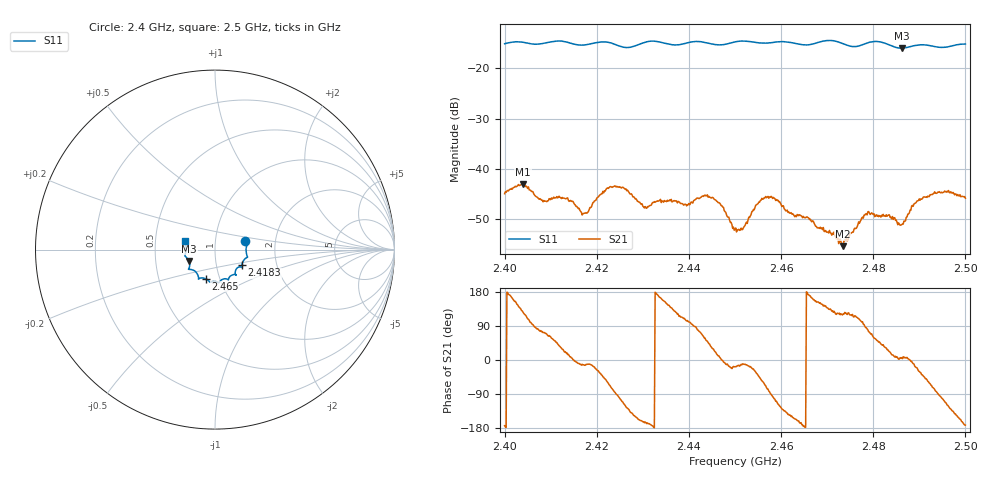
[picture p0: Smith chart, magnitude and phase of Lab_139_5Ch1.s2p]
# Hz S RI R 50
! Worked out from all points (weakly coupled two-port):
!   601 points, 2.4 GHz to 2.5 GHz, reference 50 ohm
!   highest |S21| = -43.03 dB at 2.404 GHz (marker M1); lowest = -55.3 dB at 2.4733 GHz (marker M2)
!   lowest |S11| = -16.0 dB at 2.4862 GHz (marker M3), VSWR 1.37, Z = 37.1 - j4.83 ohm
!   |S11| at or under -10 dB: start of sweep to end of sweep
!   S12 and S22 are empty: the file has one direction only
!   S11 on the Smith chart (normalised r, x): 2.4 GHz: 1.40, +0.13; 2.4183 GHz: 1.33, -0.24; 2.465 GHz: 0.86, -0.29; 2.5 GHz: 0.71, +0.07
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2.4e9  0.1688 0.0459  -0.00564 -0.000654  0 0  0 0
2.404e9  0.1789 0.027  -0.00416 0.00569  0 0  0 0
2.407833e9  0.174 -0.0141  0.00107 0.00488  0 0  0 0
2.413167e9  0.1776 -0.0444  0.0047 0.00189  0 0  0 0
2.416667e9  0.155 -0.0683  0.00361 -0.000873  0 0  0 0
2.418333e9  0.15 -0.0869  0.00385 -0.000739  0 0  0 0
2.4235e9  0.1462 -0.0971  0.00132 -0.00651  0 0  0 0
2.4305e9  0.1151 -0.1396  -0.00406 -0.0012  0 0  0 0
2.433333e9  0.117 -0.1412  -0.00471 0.000823  0 0  0 0
2.444833e9  0.0629 -0.1628  0.00422 0.00292  0 0  0 0
2.45e9  0.0253 -0.1807  0.00238 -0.000774  0 0  0 0
2.451667e9  0.0213 -0.1847  0.00247 -0.00044  0 0  0 0
2.456667e9  -0.00703 -0.1772  0.00197 -0.00495  0 0  0 0
2.465e9  -0.0529 -0.1621  -0.00327 -0.000324  0 0  0 0
2.466667e9  -0.0714 -0.1576  -0.00286 0.000839  0 0  0 0
2.473333e9  -0.0929 -0.1495  -0.00083 0.0015  0 0  0 0
2.4785e9  -0.138 -0.1106  0.000307 0.00356  0 0  0 0
2.483333e9  -0.1421 -0.0959  0.0032 0.00141  0 0  0 0
2.486167e9  -0.1446 -0.0634  0.00278 0.000299  0 0  0 0
2.488833e9  -0.1618 -0.0417  0.00441 -0.000817  0 0  0 0
2.492833e9  -0.1644 -0.0207  0.00174 -0.00528  0 0  0 0
2.5e9  -0.167 0.0472  -0.00507 -0.000734  0 0  0 0
